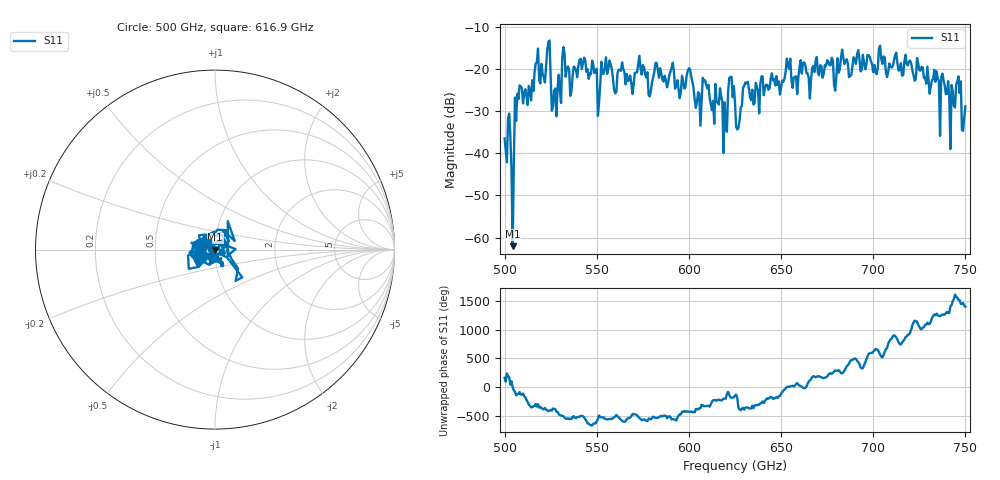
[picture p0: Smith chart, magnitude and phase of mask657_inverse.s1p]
!Created with skrf (http://scikit-rf.org).
# GHz S MA R 50.0
!freq magS11 angS11
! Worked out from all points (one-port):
!   401 points, 500 GHz to 750 GHz, reference 50 ohm
!   lowest |S11| = -62.0 dB at 504.4 GHz (marker M1), VSWR 1.00, Z = 50.1 + j0.000697 ohm
!   |S11| at or under -10 dB: start of sweep to end of sweep
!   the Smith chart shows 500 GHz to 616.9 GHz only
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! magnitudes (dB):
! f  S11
! 500 GHz  -36.5
! 501.9 GHz  -31.7
! 504.4 GHz  -62.0
! 508.1 GHz  -23.9
! 523.8 GHz  -13.6
! 526.9 GHz  -25.2
! 531.2 GHz  -17.6
! 548.8 GHz  -21.0
! 550.6 GHz  -31.2
! 553.8 GHz  -21.1
! 560 GHz  -25.8
! 562.5 GHz  -20.2
! 590.6 GHz  -19.7
! 593.8 GHz  -22.7
! 600 GHz  -19.9
! 605 GHz  -25.6
! 608.8 GHz  -22.7
! 619.4 GHz  -27.9
! 623.1 GHz  -21.9
! 625 GHz  -28.1
! 626.9 GHz  -34.0
! 630.6 GHz  -23.2
! 656.2 GHz  -24.5
! 687.5 GHz  -21.7
! 718.8 GHz  -19.2
! 743.1 GHz  -25.3
! 746.2 GHz  -21.8
! 750 GHz  -28.9
